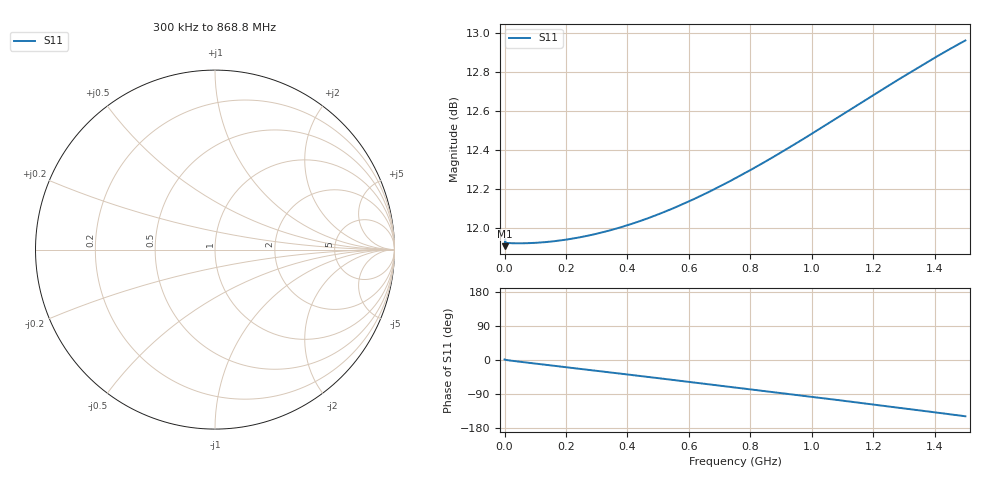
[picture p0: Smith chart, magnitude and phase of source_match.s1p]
! Created with skrf 1.8.0 (http://scikit-rf.org).
# Hz S RI R 50.0
!freq ReS11 ImS11
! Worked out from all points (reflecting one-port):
!   5000 points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, 300 kHz to 1.5 GHz, reference 50 ohm
!   lowest |S11| = 11.9 dB at 900 kHz (marker M1)
!   phase of S11 starts at 2 deg and turns -150 deg over the sweep
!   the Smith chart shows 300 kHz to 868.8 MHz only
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300000  3.943 0.106
900000  3.938 0.1071
1.29e7  3.946 -0.0562
3.6e7  3.94 -0.2204
1.116e8  3.881 -0.7215
1.878e8  3.763 -1.211
2.808e8  3.541 -1.785
3.753e8  3.229 -2.332
4.677e8  2.845 -2.819
5.628e8  2.372 -3.261
6.588e8  1.825 -3.633
7.503e8  1.246 -3.906
7.983e8  0.9239 -4.015
8.454e8  0.5973 -4.096
8.919e8  0.2666 -4.151
9.378e8  -0.0661 -4.18
9.852e8  -0.4141 -4.182
1.032e9  -0.76 -4.156
1.0788e9  -1.106 -4.101
1.1253e9  -1.447 -4.017
1.1718e9  -1.783 -3.905
1.2186e9  -2.114 -3.762
1.2657e9  -2.436 -3.59
1.3128e9  -2.746 -3.389
1.3635e9  -3.061 -3.141
1.4151e9  -3.359 -2.856
1.4676e9  -3.636 -2.536
1.5e9  -3.792 -2.324
